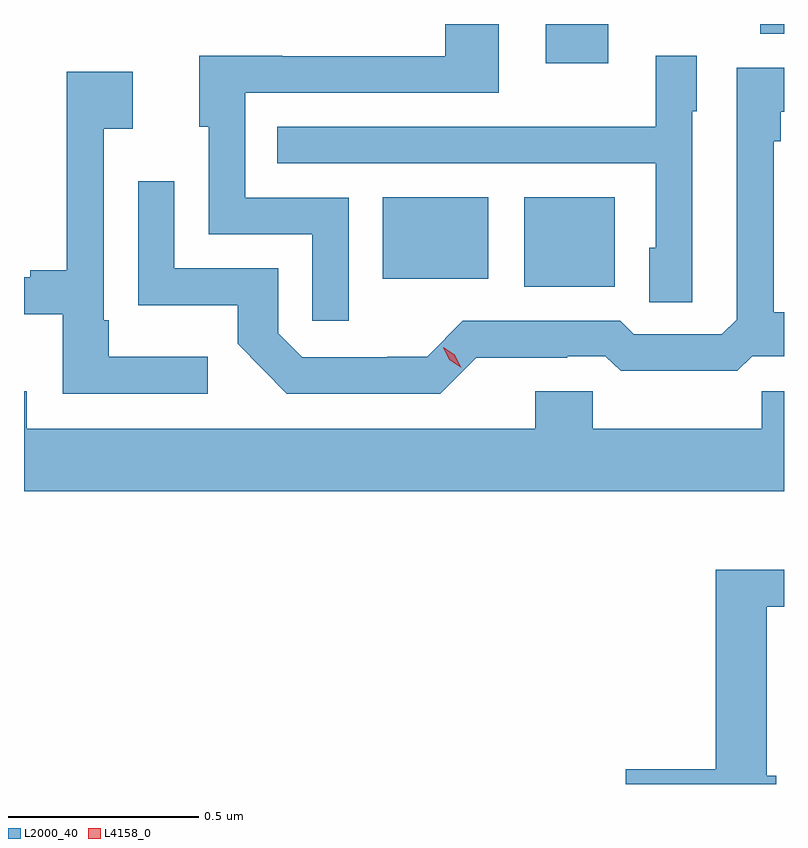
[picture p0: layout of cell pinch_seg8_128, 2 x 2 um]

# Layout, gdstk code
import gdstk
lib = gdstk.Library(unit=1e-6, precision=1e-09)
def R(c, l, rs):  # rectangles x0, y0, x1, y1
    for r in rs: c.add(gdstk.rectangle(r[:2], r[2:], *l))
def P(c, l, *ps):  # polygons
    for p in ps: c.add(gdstk.Polygon(p, *l))
L2000_40 = (2000, 40)
L4158_0 = (4158, 0)

pinch_seg8_128 = lib.new_cell('pinch_seg8_128')
R(pinch_seg8_128, L2000_40, [(754.478,1151.669,754.717,1151.905), (754.106,1151.69,754.384,1151.905), (754.535,1152.258,754.699,1152.361), (755.099,1152.336,755.162,1152.361)])
P(pinch_seg8_128, L2000_40, [(754.017,1151.904),(753.744,1151.904),(753.744,1152.18),(754.411,1152.18),(754.411,1152.361),(754.271,1152.361),(754.271,1152.276),(753.841,1152.276),(753.841,1152.278),(753.623,1152.278),(753.623,1152.09),(753.648,1152.09),(753.648,1151.808),(753.921,1151.808),(753.921,1151.58),(754.017,1151.58)],
  [(754.92,1152.132),(754.933,1152.132),(754.933,1152.277),(754.824,1152.277),(754.824,1152.091),(754.507,1152.091),(754.507,1152.09),(753.829,1152.09),(753.829,1151.994),(754.824,1151.994),(754.824,1151.772),(754.808,1151.772),(754.808,1151.629),(754.92,1151.629)],
  [(754.352,1151.483),(754.592,1151.483),(754.592,1151.487),(754.692,1151.487),(754.732,1151.448),(755.039,1151.448),(755.079,1151.487),(755.162,1151.487),(755.162,1151.603),(755.135,1151.603),(755.135,1152.053),(755.153,1152.053),(755.153,1152.13),(755.162,1152.13),(755.162,1152.246),(755.037,1152.246),(755.037,1151.583),(754.998,1151.544),(754.767,1151.544),(754.731,1151.58),(754.317,1151.58),(754.223,1151.486),(754.118,1151.486),(754.118,1151.484),(753.894,1151.484),(753.831,1151.547),(753.831,1151.718),(753.558,1151.718),(753.558,1151.947),(753.462,1151.947),(753.462,1151.621),(753.724,1151.621),(753.724,1151.519),(753.854,1151.388),(754.257,1151.388)],
  [(753.646,1151.485),(753.385,1151.485),(753.385,1151.581),(753.372,1151.581),(753.372,1152.086),(753.448,1152.086),(753.448,1152.235),(753.275,1152.235),(753.275,1151.713),(753.179,1151.713),(753.179,1151.694),(753.162,1151.694),(753.162,1151.597),(753.264,1151.597),(753.264,1151.388),(753.646,1151.388)],
  [(755.162,1151.394),(755.104,1151.394),(755.104,1151.296),(754.659,1151.296),(754.659,1151.394),(754.508,1151.394),(754.508,1151.296),(753.169,1151.296),(753.169,1151.395),(753.162,1151.395),(753.162,1151.132),(755.162,1151.132)],
  [(755.142,1150.383),(755.116,1150.383),(755.116,1150.827),(755.162,1150.827),(755.162,1150.925),(754.982,1150.925),(754.982,1150.4),(754.746,1150.4),(754.746,1150.361),(755.142,1150.361)])
P(pinch_seg8_128, L4158_0, [(754.312,1151.456),(754.281,1151.477),(754.265,1151.511),(754.265,1151.511),(754.265,1151.511),(754.296,1151.49),(754.312,1151.457),(754.312,1151.456)])

lib.write_gds('pinch_seg8_128.gds')
